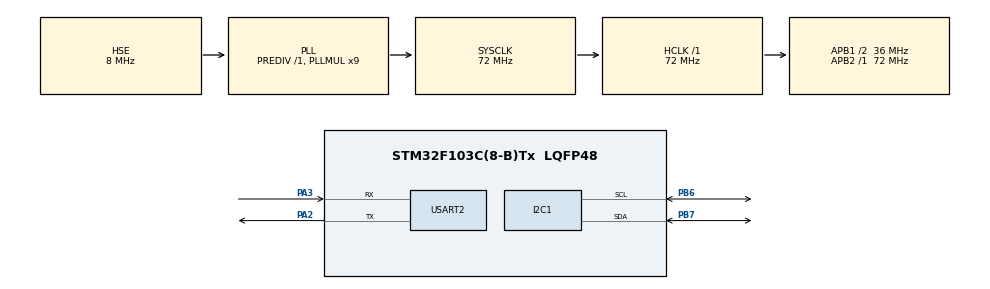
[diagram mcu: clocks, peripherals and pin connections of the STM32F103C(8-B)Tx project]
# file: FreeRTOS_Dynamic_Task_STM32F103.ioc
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FREERTOS.Tasks01=defaultTask,0,128,StartDefaultTask,Default,NULL
FREERTOS.configGENERATE_RUN_TIME_STATS=1
FREERTOS.configUSE_STATS_FORMATTING_FUNCTIONS=1
FREERTOS.configUSE_TRACE_FACILITY=1
I2C1.I2C_Mode=I2C_Fast
Mcu.Family=STM32F1
Mcu.Name=STM32F103C(8-B)Tx
Mcu.Package=LQFP48
NVIC.PriorityGroup=NVIC_PRIORITYGROUP_4
NVIC.TIM1_UP_IRQn=true\:0\:0\:false\:false\:true\:false\:false
NVIC.TimeBase=TIM1_UP_IRQn
NVIC.TimeBaseIP=TIM1
PA13.Mode=Serial_Wire
PA13.Signal=SYS_JTMS-SWDIO
PA14.Mode=Serial_Wire
PA14.Signal=SYS_JTCK-SWCLK
PA2.Mode=Asynchronous
PA2.Signal=USART2_TX
PA3.Mode=Asynchronous
PA3.Signal=USART2_RX
PB6.Mode=I2C
PB6.Signal=I2C1_SCL
PB7.Mode=I2C
PB7.Signal=I2C1_SDA
PD0-OSC_IN.Mode=HSE-External-Oscillator
PD0-OSC_IN.Signal=RCC_OSC_IN
PD1-OSC_OUT.Mode=HSE-External-Oscillator
PD1-OSC_OUT.Signal=RCC_OSC_OUT
ProjectManager.HeapSize=0x200
ProjectManager.StackSize=0x400
ProjectManager.TargetToolchain=EWARM
RCC.AHBFreq_Value=72000000
RCC.APB1CLKDivider=RCC_HCLK_DIV2
RCC.APB1Freq_Value=36000000
RCC.APB1TimFreq_Value=72000000
RCC.APB2Freq_Value=72000000
RCC.APB2TimFreq_Value=72000000
RCC.HCLKFreq_Value=72000000
RCC.PLLMUL=RCC_PLL_MUL9
RCC.PLLSourceVirtual=RCC_PLLSOURCE_HSE
RCC.SYSCLKFreq_VALUE=72000000
RCC.SYSCLKSource=RCC_SYSCLKSOURCE_PLLCLK
RCC.USBFreq_Value=72000000
USART2.VirtualMode=VM_ASYNC
VP_FREERTOS_VS_ENABLE.Mode=Enabled
VP_SYS_VS_tim1.Mode=TIM1
board=FreeRTOS_Dynamic_Task_STM32F103

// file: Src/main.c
/**
  ******************************************************************************
  * File Name          : main.c
  * Description        : Main program body
  ******************************************************************************
  * This notice applies to any and all portions of this file
  * that are not between comment pairs USER CODE BEGIN and
  * USER CODE END. Other portions of this file, whether
  * inserted by the user or by software development tools
  * are owned by their respective copyright owners.
  *
  * Copyright (c) 2019 STMicroelectronics International N.V.
  * All rights reserved.
  *
  * Redistribution and use in source and binary forms, with or without
  * modification, are permitted, provided that the following conditions are met:
  *
  * 1. Redistribution of source code must retain the above copyright notice,
  *    this list of conditions and the following disclaimer.
  * 2. Redistributions in binary form must reproduce the above copyright notice,
  *    this list of conditions and the following disclaimer in the documentation
  *    and/or other materials provided with the distribution.
  * 3. Neither the name of STMicroelectronics nor the names of other
  *    contributors to this software may be used to endorse or promote products
  *    derived from this software without specific written permission.
  * 4. This software, including modifications and/or derivative works of this
  *    software, must execute solely and exclusively on microcontroller or
  *    microprocessor devices manufactured by or for STMicroelectronics.
  * 5. Redistribution and use of this software other than as permitted under
  *    this license is void and will automatically terminate your rights under
  *    this license.
  *
  * THIS SOFTWARE IS PROVIDED BY STMICROELECTRONICS AND CONTRIBUTORS "AS IS"
  * AND ANY EXPRESS, IMPLIED OR STATUTORY WARRANTIES, INCLUDING, BUT NOT
  * LIMITED TO, THE IMPLIED WARRANTIES OF MERCHANTABILITY, FITNESS FOR A
  * PARTICULAR PURPOSE AND NON-INFRINGEMENT OF THIRD PARTY INTELLECTUAL PROPERTY
  * RIGHTS ARE DISCLAIMED TO THE FULLEST EXTENT PERMITTED BY LAW. IN NO EVENT
  * SHALL STMICROELECTRONICS OR CONTRIBUTORS BE LIABLE FOR ANY DIRECT, INDIRECT,
  * INCIDENTAL, SPECIAL, EXEMPLARY, OR CONSEQUENTIAL DAMAGES (INCLUDING, BUT NOT
  * LIMITED TO, PROCUREMENT OF SUBSTITUTE GOODS OR SERVICES; LOSS OF USE, DATA,
  * OR PROFITS; OR BUSINESS INTERRUPTION) HOWEVER CAUSED AND ON ANY THEORY OF
  * LIABILITY, WHETHER IN CONTRACT, STRICT LIABILITY, OR TORT (INCLUDING
  * NEGLIGENCE OR OTHERWISE) ARISING IN ANY WAY OUT OF THE USE OF THIS SOFTWARE,
  * EVEN IF ADVISED OF THE POSSIBILITY OF SUCH DAMAGE.
  *
  ******************************************************************************
  */
#include "main.h"
#include "stm32f1xx_hal.h"
#include "cmsis_os.h"

/* USER CODE BEGIN Includes */
#include "SSD1602.h"
/* USER CODE END Includes */

I2C_HandleTypeDef hi2c1;

UART_HandleTypeDef huart2;

osThreadId defaultTaskHandle;

/* USER CODE BEGIN PV */
/* Private variables ---------------------------------------------------------*/
char str1[60];
char taskListBuf[1000];

osThreadId Task00_ID, Task01_ID, Task02_ID;
/* USER CODE END PV */

void SystemClock_Config(void);
static void MX_GPIO_Init(void);
static void MX_I2C1_Init(void);
static void MX_USART2_UART_Init(void);
void StartDefaultTask(void const * argument);

/* USER CODE BEGIN PFP */
/* Private function prototypes -----------------------------------------------*/
void Task_00(void const * argument);
void Task_01(void const * argument);
void Task_02(void const * argument);
void PrintListTaskInUART();
/* USER CODE END PFP */

int main(void)
{

  /* MCU Configuration----------------------------------------------------------*/

  /* Reset of all peripherals, Initializes the Flash interface and the Systick. */
  HAL_Init();

  /* Configure the system clock */
  SystemClock_Config();

  /* Initialize all configured peripherals */
  MX_GPIO_Init();
  MX_I2C1_Init();
  MX_USART2_UART_Init();

  /* USER CODE BEGIN 2 */
  HAL_Delay(100);
  OLED_init(&hi2c1);
  LCD_Clear(&hi2c1);
  /* USER CODE END 2 */

  /* Create the thread(s) */
  /* definition and creation of defaultTask */
  osThreadDef(defaultTask, StartDefaultTask, osPriorityNormal, 0, 128);
  defaultTaskHandle = osThreadCreate(osThread(defaultTask), NULL);

  /* Start scheduler */
  osKernelStart();

  /* We should never get here as control is now taken by the scheduler */

  /* Infinite loop */
  while (1)
  {

  }

}

/** System Clock Configuration
*/
void SystemClock_Config(void)
{

  RCC_OscInitTypeDef RCC_OscInitStruct;
  RCC_ClkInitTypeDef RCC_ClkInitStruct;

    /**Initializes the CPU, AHB and APB busses clocks
    */
  RCC_OscInitStruct.OscillatorType = RCC_OSCILLATORTYPE_HSE;
  RCC_OscInitStruct.HSEState = RCC_HSE_ON;
  RCC_OscInitStruct.HSEPredivValue = RCC_HSE_PREDIV_DIV1;
  RCC_OscInitStruct.HSIState = RCC_HSI_ON;
  RCC_OscInitStruct.PLL.PLLState = RCC_PLL_ON;
  RCC_OscInitStruct.PLL.PLLSource = RCC_PLLSOURCE_HSE;
  RCC_OscInitStruct.PLL.PLLMUL = RCC_PLL_MUL9;
  if (HAL_RCC_OscConfig(&RCC_OscInitStruct) != HAL_OK)
  {
    _Error_Handler(__FILE__, __LINE__);
  }

    /**Initializes the CPU, AHB and APB busses clocks
    */
  RCC_ClkInitStruct.ClockType = RCC_CLOCKTYPE_HCLK|RCC_CLOCKTYPE_SYSCLK
                              |RCC_CLOCKTYPE_PCLK1|RCC_CLOCKTYPE_PCLK2;
  RCC_ClkInitStruct.SYSCLKSource = RCC_SYSCLKSOURCE_PLLCLK;
  RCC_ClkInitStruct.AHBCLKDivider = RCC_SYSCLK_DIV1;
  RCC_ClkInitStruct.APB1CLKDivider = RCC_HCLK_DIV2;
  RCC_ClkInitStruct.APB2CLKDivider = RCC_HCLK_DIV1;

  if (HAL_RCC_ClockConfig(&RCC_ClkInitStruct, FLASH_LATENCY_2) != HAL_OK)
  {
    _Error_Handler(__FILE__, __LINE__);
  }

    /**Configure the Systick interrupt time
    */
  HAL_SYSTICK_Config(HAL_RCC_GetHCLKFreq()/1000);

    /**Configure the Systick
    */
  HAL_SYSTICK_CLKSourceConfig(SYSTICK_CLKSOURCE_HCLK);

  /* SysTick_IRQn interrupt configuration */
  HAL_NVIC_SetPriority(SysTick_IRQn, 15, 0);
}

/* I2C1 init function */
static void MX_I2C1_Init(void)
{

  hi2c1.Instance = I2C1;
  hi2c1.Init.ClockSpeed = 400000;
  hi2c1.Init.DutyCycle = I2C_DUTYCYCLE_2;
  hi2c1.Init.OwnAddress1 = 0;
  hi2c1.Init.AddressingMode = I2C_ADDRESSINGMODE_7BIT;
  hi2c1.Init.DualAddressMode = I2C_DUALADDRESS_DISABLE;
  hi2c1.Init.OwnAddress2 = 0;
  hi2c1.Init.GeneralCallMode = I2C_GENERALCALL_DISABLE;
  hi2c1.Init.NoStretchMode = I2C_NOSTRETCH_DISABLE;
  if (HAL_I2C_Init(&hi2c1) != HAL_OK)
  {
    _Error_Handler(__FILE__, __LINE__);
  }

}

/* USART2 init function */
static void MX_USART2_UART_Init(void)
{

  huart2.Instance = USART2;
  huart2.Init.BaudRate = 115200;
  huart2.Init.WordLength = UART_WORDLENGTH_8B;
  huart2.Init.StopBits = UART_STOPBITS_1;
  huart2.Init.Parity = UART_PARITY_NONE;
  huart2.Init.Mode = UART_MODE_TX_RX;
  huart2.Init.HwFlowCtl = UART_HWCONTROL_NONE;
  huart2.Init.OverSampling = UART_OVERSAMPLING_16;
  if (HAL_UART_Init(&huart2) != HAL_OK)
  {
    _Error_Handler(__FILE__, __LINE__);
  }

}

/** Configure pins as
        * Analog
        * Input
        * Output
        * EVENT_OUT
        * EXTI
*/
static void MX_GPIO_Init(void)
{

  /* GPIO Ports Clock Enable */
  __HAL_RCC_GPIOD_CLK_ENABLE();
  __HAL_RCC_GPIOA_CLK_ENABLE();
  __HAL_RCC_GPIOB_CLK_ENABLE();

}

/* USER CODE BEGIN 4 */
void Task_00(void const * argument)
{
  sprintf(str1,"%lu ", osKernelSysTick());
  LCD_Goto(&hi2c1, 50,0);
  OLED_string(&hi2c1,str1);
  osThreadTerminate(NULL);
}

void Task_01(void const * argument)
{
  sprintf(str1,"%lu ", osKernelSysTick());
  LCD_Goto(&hi2c1, 50,2);
  OLED_string(&hi2c1,str1);
  osThreadTerminate(NULL);
}

void Task_02(void const * argument)
{
  sprintf(str1,"%lu ", osKernelSysTick());
  LCD_Goto(&hi2c1, 50,4);
  OLED_string(&hi2c1,str1);
  osThreadTerminate(NULL);
}

void PrintListTaskInUART()
{
    osThreadList((unsigned char *)taskListBuf);
    sprintf(str1, "Created_Task:\n");
    HAL_UART_Transmit(&huart2,(uint8_t*)str1,strlen(str1),0x1000);
    HAL_UART_Transmit(&huart2,(uint8_t*)taskListBuf,strlen(taskListBuf),0x1000);
    HAL_UART_Transmit(&huart2,(uint8_t*)"\n",2,0x1000);
    osDelay(500);
    osThreadList((unsigned char *)taskListBuf);
    sprintf(str1, "Deleted_Task:\n");
    HAL_UART_Transmit(&huart2,(uint8_t*)str1,strlen(str1),0x1000);
    HAL_UART_Transmit(&huart2,(uint8_t*)taskListBuf,strlen(taskListBuf),0x1000);
    HAL_UART_Transmit(&huart2,(uint8_t*)"\n",2,0x1000);
    osDelay(500);
}
/* USER CODE END 4 */

/* StartDefaultTask function */
void StartDefaultTask(void const * argument)
{

  /* USER CODE BEGIN 5 */
  LCD_Goto(&hi2c1, 0,0);
  OLED_string(&hi2c1, " Task 0:");
  LCD_Goto(&hi2c1, 0,2);
  OLED_string(&hi2c1, " Task 1:");
  LCD_Goto(&hi2c1, 0,4);
  OLED_string(&hi2c1, " Task 2:");
  /* Infinite loop */
  for(;;)
  {
    osThreadDef(tsk00, Task_00, osPriorityNormal, 0, 128);
    Task00_ID = osThreadCreate(osThread(tsk00), NULL);
    PrintListTaskInUART();

    osThreadDef(tsk01, Task_01, osPriorityNormal, 0, 128);
    Task01_ID = osThreadCreate(osThread(tsk01), NULL);
    PrintListTaskInUART();

    osThreadDef(tsk02, Task_02, osPriorityNormal, 0, 128);
    Task02_ID = osThreadCreate(osThread(tsk02), NULL);
    PrintListTaskInUART();

  }
  /* USER CODE END 5 */
}

void HAL_TIM_PeriodElapsedCallback(TIM_HandleTypeDef *htim)
{
  if (htim->Instance == TIM1) {
    HAL_IncTick();
  }
}

void _Error_Handler(char * file, int line)
{
  while(1)
  {
  }
}

/************************ (C) COPYRIGHT STMicroelectronics *****END OF FILE****/
